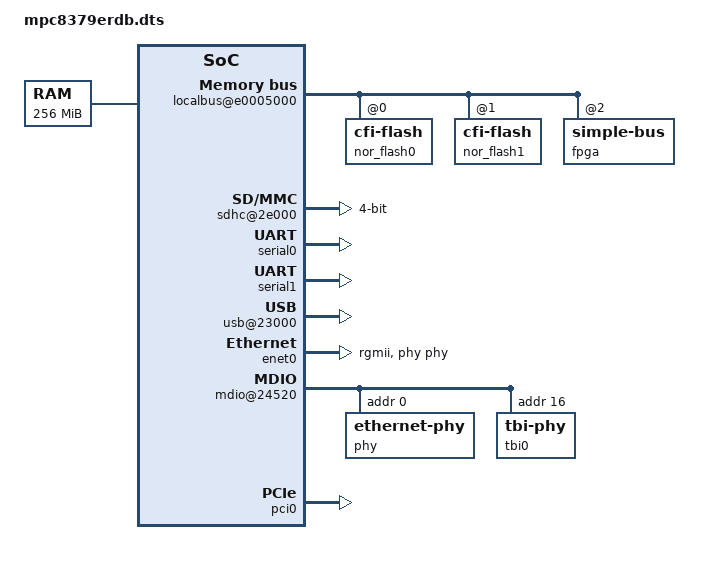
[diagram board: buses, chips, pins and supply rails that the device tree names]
// SPDX-License-Identifier: GPL-2.0+ OR X11
/*
 * MPC8379E RDB Device Tree Source
 *
 * Copyright 2020 NXP
 */

/dts-v1/;

/ {
	compatible = "fsl,mpc8379erdb";

	#address-cells = <1>;
	#size-cells = <1>;

	aliases {
		serial0 = &serial0;
		serial1 = &serial1;
	};

	cpus {
		#address-cells = <1>;
		#size-cells = <0>;

		PowerPC,8379@0 {
			device_type = "cpu";
			reg = <0x0>;
			d-cache-line-size = <32>;
			i-cache-line-size = <32>;
			d-cache-size = <32768>;
			i-cache-size = <32768>;
			timebase-frequency = <0>;
			bus-frequency = <0>;
			clock-frequency = <0>;
		};
	};

	memory {
		device_type = "memory";
		reg = <0x00000000 0x10000000>;  // 256MB at 0
	};

	localbus@e0005000 {
		#address-cells = <2>;
		#size-cells = <1>;
		compatible = "fsl,elbc", "simple-bus";
		reg = <0xe0005000 0x1000>;
		interrupts = <77 0x8>;
		interrupt-parent = <&ipic>;

		ranges = <0x0 0x0 0xff800000 0x00800000
		          0x1 0x0 0xc0000000 0x01800000
		          0x2 0x0 0xc2000000 0x02000000>;

		nor_flash0@0,0 {
			#address-cells = <1>;
			#size-cells = <1>;
			compatible = "cfi-flash";
			reg = <0x0 0x0 0x800000>;
			bank-width = <2>;
			device-width = <1>;

			u-boot@600000 {
				reg = <0x600000 0x80000>;
				read-only;
			};
		};

		nor_flash1@1,0 {
			#address-cells = <1>;
			#size-cells = <1>;
			compatible = "cfi-flash";
			reg = <0x1 0x0 0x1800000>;
			bank-width = <2>;
			device-width = <1>;

			kernel@0 {
				reg = <0x0 0x400000>;
			};
			fs@400000 {
				reg = <0x400000 0x1400000>;
			};
		};

		fpga@2,0 {
			#address-cells = <0x01>;
			#size-cells = <0x01>;
			compatible = "simple-bus";
			reg = <0x02 0x00 0xc4000>;
			bank-width = <0x04>;
			device-width = <0x01>;
		};
	};

	immr@e0000000 {
		#address-cells = <1>;
		#size-cells = <1>;
		device_type = "soc";
		compatible = "simple-bus";
		ranges = <0 0xe0000000 0x00100000>;
		reg = <0xe0000000 0x00000200>;
		bus-frequency = <0>;

		sdhc@2e000 {
			compatible = "fsl,esdhc";
			reg = <0x2e000 0x1000>;
			bus-width = <0x4>;
			clock-frequency = <0>;
		};

		serial0: serial@4500 {
			cell-index = <0>;
			device_type = "serial";
			compatible = "fsl,ns16550", "ns16550";
			reg = <0x4500 0x100>;
			clock-frequency = <266000000>;
			interrupts = <9 0x8>;
			interrupt-parent = <&ipic>;
			bootph-all;
		};

		serial1: serial@4600 {
			cell-index = <1>;
			device_type = "serial";
			compatible = "fsl,ns16550", "ns16550";
			reg = <0x4600 0x100>;
			clock-frequency = <266000000>;
			interrupts = <10 0x8>;
			interrupt-parent = <&ipic>;
			bootph-all;
		};

		ipic: interrupt-controller@700 {
			compatible = "fsl,ipic";
			interrupt-controller;
			#address-cells = <0>;
			#interrupt-cells = <2>;
			reg = <0x700 0x100>;
			device_type = "ipic";
		};

		usb@23000 {
			compatible = "fsl-usb2-dr";
			reg = <0x23000 0x1000>;
			#address-cells = <1>;
			#size-cells = <0>;
			interrupt-parent = <&ipic>;
			interrupts = <38 0x8>;
			phy_type = "ulpi";
		};

		enet0: ethernet@24000 {
			#address-cells = <1>;
			#size-cells = <1>;
			cell-index = <0>;
			device_type = "network";
			model = "eTSEC";
			compatible = "gianfar";
			reg = <0x24000 0x1000>;
			ranges = <0x0 0x24000 0x1000>;
			local-mac-address = [ 00 00 00 00 00 00 ];
			interrupts = <32 0x8 33 0x8 34 0x8>;
			phy-connection-type = "rgmii";
			interrupt-parent = <&ipic>;
			fixed-link = <1 0 1000 0 0>;
			phy-handle = <&phy>;
			tbi-handle = <&tbi0>;
			fsl,magic-packet;
		};

		mdio@24520 {
			#address-cells = <1>;
			#size-cells = <0>;
			compatible = "fsl,gianfar-mdio";
			reg = <0x24520 0x20>;

			phy: ethernet-phy@0 {
				reg = <0x0>;
				device_type = "ethernet-phy";
			};

			tbi0: tbi-phy@10 {
				reg = <0x10>;
				device_type = "tbi-phy";
			};
		};

		pci0: pci@e0008300 {
	                #address-cells = <3>;
	                #size-cells = <2>;
	                #interrupt-cells = <1>;
	                device_type = "pci";
	                reg = <0x0 0xe0008300 0x0 0x00000fff>;
			compatible = "fsl,mpc837x-pci";
	                clock-frequency = <0>;
		};

	};

};
